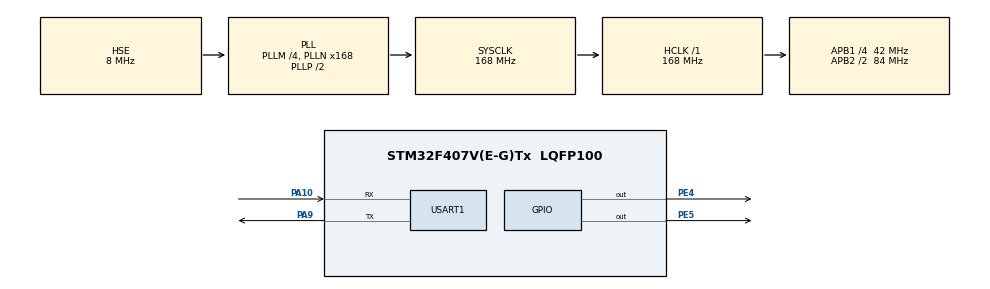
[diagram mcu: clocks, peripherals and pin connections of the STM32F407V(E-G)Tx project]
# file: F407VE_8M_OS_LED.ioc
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FREERTOS.Tasks01=defaultTask,24,128,StartDefaultTask,Default,NULL,Dynamic,NULL,NULL;keyTask,8,128,StartKeyTask,Default,NULL,Dynamic,NULL,NULL;ledTask,8,128,StartLEDTask,Default,NULL,Dynamic,NULL,NULL
FREERTOS.configENABLE_FPU=1
Mcu.Family=STM32F4
Mcu.Name=STM32F407V(E-G)Tx
Mcu.Package=LQFP100
NVIC.PriorityGroup=NVIC_PRIORITYGROUP_4
NVIC.TIM6_DAC_IRQn=true\:0\:0\:false\:false\:true\:false\:false\:true
NVIC.TimeBase=TIM6_DAC_IRQn
NVIC.TimeBaseIP=TIM6
NVIC.USART1_IRQn=true\:5\:0\:false\:false\:true\:true\:true\:true
PA10.Mode=Asynchronous
PA10.Signal=USART1_RX
PA13.Mode=Serial_Wire
PA13.Signal=SYS_JTMS-SWDIO
PA14.Mode=Serial_Wire
PA14.Signal=SYS_JTCK-SWCLK
PA9.Mode=Asynchronous
PA9.Signal=USART1_TX
PC14-OSC32_IN.Mode=LSE-External-Oscillator
PC14-OSC32_IN.Signal=RCC_OSC32_IN
PC15-OSC32_OUT.Mode=LSE-External-Oscillator
PC15-OSC32_OUT.Signal=RCC_OSC32_OUT
PE4.GPIO_ModeDefaultOutputPP=GPIO_MODE_OUTPUT_PP
PE4.GPIO_PuPd=GPIO_PULLUP
PE4.GPIO_Speed=GPIO_SPEED_FREQ_VERY_HIGH
PE4.PinState=GPIO_PIN_SET
PE4.Signal=GPIO_Output
PE5.GPIO_ModeDefaultOutputPP=GPIO_MODE_OUTPUT_PP
PE5.GPIO_PuPd=GPIO_PULLUP
PE5.GPIO_Speed=GPIO_SPEED_FREQ_VERY_HIGH
PE5.PinState=GPIO_PIN_SET
PE5.Signal=GPIO_Output
PH0-OSC_IN.Mode=HSE-External-Oscillator
PH0-OSC_IN.Signal=RCC_OSC_IN
PH1-OSC_OUT.Mode=HSE-External-Oscillator
PH1-OSC_OUT.Signal=RCC_OSC_OUT
ProjectManager.HeapSize=0x200
ProjectManager.StackSize=0x400
ProjectManager.TargetToolchain=MDK-ARM V5.27
RCC.48MHZClocksFreq_Value=84000000
RCC.AHBFreq_Value=168000000
RCC.APB1CLKDivider=RCC_HCLK_DIV4
RCC.APB1Freq_Value=42000000
RCC.APB1TimFreq_Value=84000000
RCC.APB2CLKDivider=RCC_HCLK_DIV2
RCC.APB2Freq_Value=84000000
RCC.APB2TimFreq_Value=168000000
RCC.CortexFreq_Value=168000000
RCC.HCLKFreq_Value=168000000
RCC.HSE_VALUE=8000000
RCC.HSI_VALUE=16000000
RCC.PLLM=4
RCC.PLLN=168
RCC.PLLSourceVirtual=RCC_PLLSOURCE_HSE
RCC.SYSCLKFreq_VALUE=168000000
RCC.SYSCLKSource=RCC_SYSCLKSOURCE_PLLCLK
RCC.VCOOutputFreq_Value=336000000
USART1.VirtualMode=VM_ASYNC
VP_FREERTOS_VS_CMSIS_V2.Mode=CMSIS_V2
VP_SYS_VS_tim6.Mode=TIM6
board=custom

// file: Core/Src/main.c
/* USER CODE BEGIN Header */
/**
  ******************************************************************************
  * @file           : main.c
  * @brief          : Main program body
  ******************************************************************************
  * @attention
  *
  * <h2><center>&copy; Copyright (c) 2021 STMicroelectronics.
  * All rights reserved.</center></h2>
  *
  * This software component is licensed by ST under Ultimate Liberty license
  * SLA0044, the "License"; You may not use this file except in compliance with
  * the License. You may obtain a copy of the License at:
  *                             www.st.com/SLA0044
  *
  ******************************************************************************
  */
/* USER CODE END Header */
#include "main.h"
#include "cmsis_os.h"
#include "usart.h"
#include "gpio.h"

void SystemClock_Config(void);
void MX_FREERTOS_Init(void);

/* USER CODE BEGIN 0 */
void LED_Init()
{
  GPIO_InitTypeDef GPIO_InitStruct = {0};

  __HAL_RCC_GPIOB_CLK_ENABLE();

  HAL_GPIO_WritePin(GPIOB, 0x00FF, GPIO_PIN_SET);

  GPIO_InitStruct.Pin = 0x00FF;
  GPIO_InitStruct.Mode = GPIO_MODE_OUTPUT_PP;
  GPIO_InitStruct.Pull = GPIO_PULLUP;
  GPIO_InitStruct.Speed = GPIO_SPEED_FREQ_VERY_HIGH;
  HAL_GPIO_Init(GPIOB, &GPIO_InitStruct);
}
/* USER CODE END 0 */

int main(void)
{

  /* MCU Configuration--------------------------------------------------------*/

  /* Reset of all peripherals, Initializes the Flash interface and the Systick. */
  HAL_Init();

  /* Configure the system clock */
  SystemClock_Config();

  /* Initialize all configured peripherals */
  MX_GPIO_Init();
  MX_USART1_UART_Init();
  /* USER CODE BEGIN 2 */
  LED_Init();
  /* USER CODE END 2 */

  /* Init scheduler */
  osKernelInitialize();  /* Call init function for freertos objects (in freertos.c) */
  MX_FREERTOS_Init();
  /* Start scheduler */
  osKernelStart();

  /* We should never get here as control is now taken by the scheduler */
  /* Infinite loop */
  while (1)
  {

  }
}

void SystemClock_Config(void)
{
  RCC_OscInitTypeDef RCC_OscInitStruct = {0};
  RCC_ClkInitTypeDef RCC_ClkInitStruct = {0};

  /** Configure the main internal regulator output voltage
  */
  __HAL_RCC_PWR_CLK_ENABLE();
  __HAL_PWR_VOLTAGESCALING_CONFIG(PWR_REGULATOR_VOLTAGE_SCALE1);
  /** Initializes the RCC Oscillators according to the specified parameters
  * in the RCC_OscInitTypeDef structure.
  */
  RCC_OscInitStruct.OscillatorType = RCC_OSCILLATORTYPE_HSE;
  RCC_OscInitStruct.HSEState = RCC_HSE_ON;
  RCC_OscInitStruct.PLL.PLLState = RCC_PLL_ON;
  RCC_OscInitStruct.PLL.PLLSource = RCC_PLLSOURCE_HSE;
  RCC_OscInitStruct.PLL.PLLM = 4;
  RCC_OscInitStruct.PLL.PLLN = 168;
  RCC_OscInitStruct.PLL.PLLP = RCC_PLLP_DIV2;
  RCC_OscInitStruct.PLL.PLLQ = 4;
  if (HAL_RCC_OscConfig(&RCC_OscInitStruct) != HAL_OK)
  {
    Error_Handler();
  }
  /** Initializes the CPU, AHB and APB buses clocks
  */
  RCC_ClkInitStruct.ClockType = RCC_CLOCKTYPE_HCLK|RCC_CLOCKTYPE_SYSCLK
                              |RCC_CLOCKTYPE_PCLK1|RCC_CLOCKTYPE_PCLK2;
  RCC_ClkInitStruct.SYSCLKSource = RCC_SYSCLKSOURCE_PLLCLK;
  RCC_ClkInitStruct.AHBCLKDivider = RCC_SYSCLK_DIV1;
  RCC_ClkInitStruct.APB1CLKDivider = RCC_HCLK_DIV4;
  RCC_ClkInitStruct.APB2CLKDivider = RCC_HCLK_DIV2;

  if (HAL_RCC_ClockConfig(&RCC_ClkInitStruct, FLASH_LATENCY_5) != HAL_OK)
  {
    Error_Handler();
  }
}

 /**
  * @brief  Period elapsed callback in non blocking mode
  * @note   This function is called  when TIM6 interrupt took place, inside
  * HAL_TIM_IRQHandler(). It makes a direct call to HAL_IncTick() to increment
  * a global variable "uwTick" used as application time base.
  * @param  htim : TIM handle
  * @retval None
  */
void HAL_TIM_PeriodElapsedCallback(TIM_HandleTypeDef *htim)
{
  if (htim->Instance == TIM6) {
    HAL_IncTick();
  }
}

void Error_Handler(void)
{
  __disable_irq();
  while (1)
  {
  }
}

/************************ (C) COPYRIGHT STMicroelectronics *****END OF FILE****/

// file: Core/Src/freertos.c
/* USER CODE BEGIN Header */
/**
  ******************************************************************************
  * File Name          : freertos.c
  * Description        : Code for freertos applications
  ******************************************************************************
  * @attention
  *
  * <h2><center>&copy; Copyright (c) 2021 STMicroelectronics.
  * All rights reserved.</center></h2>
  *
  * This software component is licensed by ST under Ultimate Liberty license
  * SLA0044, the "License"; You may not use this file except in compliance with
  * the License. You may obtain a copy of the License at:
  *                             www.st.com/SLA0044
  *
  ******************************************************************************
  */
/* USER CODE END Header */

#include "FreeRTOS.h"
#include "task.h"
#include "main.h"
#include "cmsis_os.h"

/* USER CODE BEGIN Variables */
osThreadId_t ledTaskGrp[8];
/* USER CODE END Variables */
/* Definitions for defaultTask */
osThreadId_t defaultTaskHandle;
const osThreadAttr_t defaultTask_attributes = {
  .name = "defaultTask",
  .stack_size = 128 * 4,
  .priority = (osPriority_t) osPriorityNormal,
};
/* Definitions for keyTask */
osThreadId_t keyTaskHandle;
const osThreadAttr_t keyTask_attributes = {
  .name = "keyTask",
  .stack_size = 128 * 4,
  .priority = (osPriority_t) osPriorityLow,
};
/* Definitions for ledTask */
osThreadId_t ledTaskHandle;
const osThreadAttr_t ledTask_attributes = {
  .name = "ledTask",
  .stack_size = 128 * 4,
  .priority = (osPriority_t) osPriorityLow,
};

void StartDefaultTask(void *argument);
void StartKeyTask(void *argument);
void StartLEDTask(void *argument);

void MX_FREERTOS_Init(void); /* (MISRA C 2004 rule 8.1) */

void MX_FREERTOS_Init(void) {
  /* USER CODE BEGIN Init */
  uint8_t i;
  /* USER CODE END Init */

  /* Create the thread(s) */
  /* creation of defaultTask */
  defaultTaskHandle = osThreadNew(StartDefaultTask, NULL, &defaultTask_attributes);

  /* creation of keyTask */
  keyTaskHandle = osThreadNew(StartKeyTask, NULL, &keyTask_attributes);

  /* creation of ledTask */
  ledTaskHandle = osThreadNew(StartLEDTask, NULL, &ledTask_attributes);

  /* USER CODE BEGIN RTOS_THREADS */
  for(i = 1; i < 8; i++) // 0 is used by default ledTask
    ledTaskGrp[i] = osThreadNew(StartLEDTask, (void *)i, &ledTask_attributes);
  /* add threads, ... */
  /* USER CODE END RTOS_THREADS */

}

void StartDefaultTask(void *argument)
{
  for(;;)
  {
    osDelay(1);
  }
}

void StartKeyTask(void *argument)
{
  for(;;)
  {
    osDelay(1);
  }
}

void StartLEDTask(void *argument)
{
  /* USER CODE BEGIN StartLEDTask */
  uint8_t pin;
  /* Infinite loop */
  for(;;)
  {
    pin = (uint8_t)argument;
    HAL_GPIO_TogglePin(GPIOB, 1u << pin);
    osDelay(50);
  }
  /* USER CODE END StartLEDTask */
}

/************************ (C) COPYRIGHT STMicroelectronics *****END OF FILE****/
